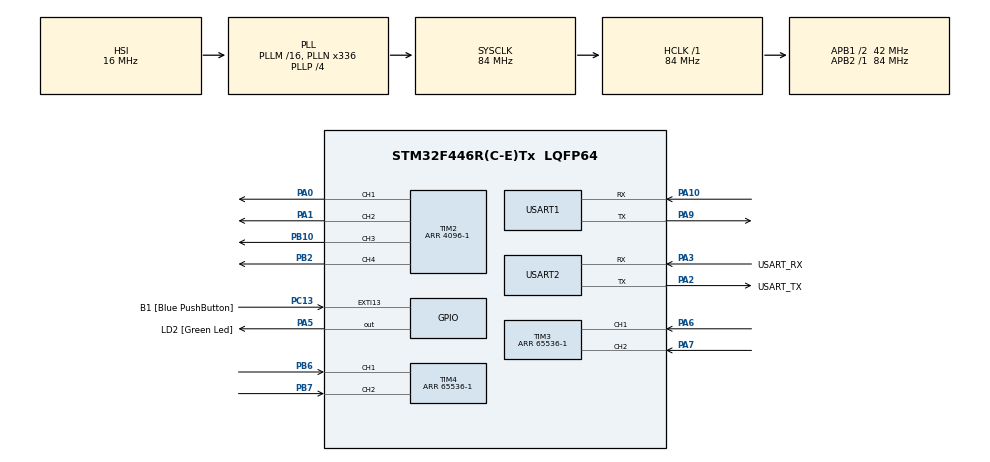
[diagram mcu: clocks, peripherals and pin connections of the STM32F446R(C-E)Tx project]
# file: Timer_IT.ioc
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Mcu.Family=STM32F4
Mcu.Name=STM32F446R(C-E)Tx
Mcu.Package=LQFP64
NVIC.PriorityGroup=NVIC_PRIORITYGROUP_0
NVIC.TIM8_TRG_COM_TIM14_IRQn=true\:0\:0\:false\:false\:true\:true\:true
NVIC.USART1_IRQn=true\:0\:0\:false\:false\:true\:true\:true
PA0-WKUP.Signal=S_TIM2_CH1_ETR
PA1.Signal=S_TIM2_CH2
PA10.Mode=Asynchronous
PA10.Signal=USART1_RX
PA13.GPIO_Label=TMS
PA13.Mode=Serial_Wire
PA13.Signal=SYS_JTMS-SWDIO
PA14.GPIO_Label=TCK
PA14.Mode=Serial_Wire
PA14.Signal=SYS_JTCK-SWCLK
PA2.GPIO_Label=USART_TX
PA2.Mode=Asynchronous
PA2.Signal=USART2_TX
PA3.GPIO_Label=USART_RX
PA3.Mode=Asynchronous
PA3.Signal=USART2_RX
PA5.GPIO_Label=LD2 [Green Led]
PA5.Signal=GPIO_Output
PA6.Signal=S_TIM3_CH1
PA7.Signal=S_TIM3_CH2
PA9.Mode=Asynchronous
PA9.Signal=USART1_TX
PB10.Signal=S_TIM2_CH3
PB2.Signal=S_TIM2_CH4
PB3.GPIO_Label=SWO
PB3.Signal=SYS_JTDO-SWO
PB6.Signal=S_TIM4_CH1
PB7.Signal=S_TIM4_CH2
PC13.GPIO_Label=B1 [Blue PushButton]
PC13.GPIO_ModeDefaultEXTI=GPIO_MODE_IT_FALLING
PC13.Signal=GPXTI13
PC14-OSC32_IN.Mode=LSE-External-Oscillator
PC14-OSC32_IN.Signal=RCC_OSC32_IN
PC15-OSC32_OUT.Mode=LSE-External-Oscillator
PC15-OSC32_OUT.Signal=RCC_OSC32_OUT
PH0-OSC_IN.Mode=HSE-External-Oscillator
PH0-OSC_IN.Signal=RCC_OSC_IN
PH1-OSC_OUT.Mode=HSE-External-Oscillator
PH1-OSC_OUT.Signal=RCC_OSC_OUT
ProjectManager.HeapSize=0x200
ProjectManager.StackSize=0x400
ProjectManager.TargetToolchain=SW4STM32
RCC.48MHZClocksFreq_Value=84000000
RCC.AHBFreq_Value=84000000
RCC.APB1CLKDivider=RCC_HCLK_DIV2
RCC.APB1Freq_Value=42000000
RCC.APB1TimFreq_Value=84000000
RCC.APB2Freq_Value=84000000
RCC.APB2TimFreq_Value=84000000
RCC.CortexFreq_Value=84000000
RCC.FLatency-AdvancedSettings=FLASH_LATENCY_2
RCC.HCLKFreq_Value=84000000
RCC.HSE_VALUE=8000000
RCC.HSI_VALUE=16000000
RCC.PLLN=336
RCC.PLLP=RCC_PLLP_DIV4
RCC.SYSCLKFreq_VALUE=84000000
RCC.SYSCLKSource=RCC_SYSCLKSOURCE_PLLCLK
RCC.USBFreq_Value=168000000
RCC.VCOOutputFreq_Value=336000000
SH.S_TIM2_CH1_ETR.0=TIM2_CH1,PWM Generation1 CH1
SH.S_TIM2_CH2.0=TIM2_CH2,PWM Generation2 CH2
SH.S_TIM2_CH3.0=TIM2_CH3,PWM Generation3 CH3
SH.S_TIM2_CH4.0=TIM2_CH4,PWM Generation4 CH4
SH.S_TIM3_CH1.0=TIM3_CH1,Encoder_Interface
SH.S_TIM3_CH2.0=TIM3_CH2,Encoder_Interface
SH.S_TIM4_CH1.0=TIM4_CH1,Encoder_Interface
SH.S_TIM4_CH2.0=TIM4_CH2,Encoder_Interface
TIM14.Period=10000-1
TIM14.Prescaler=8400
TIM2.Channel-PWM\ Generation1\ CH1=TIM_CHANNEL_1
TIM2.Channel-PWM\ Generation2\ CH2=TIM_CHANNEL_2
TIM2.Channel-PWM\ Generation3\ CH3=TIM_CHANNEL_3
TIM2.Channel-PWM\ Generation4\ CH4=TIM_CHANNEL_4
TIM2.Period=4096-1
TIM3.IC1Polarity=TIM_ICPOLARITY_FALLING
TIM3.Period=65536-1
TIM4.IC1Polarity=TIM_ICPOLARITY_FALLING
TIM4.Period=65536-1
USART1.VirtualMode=VM_ASYNC
USART2.VirtualMode=VM_ASYNC
VP_TIM14_VS_ClockSourceINT.Mode=Enable_Timer
board=NUCLEO-F446RE

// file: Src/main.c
/* USER CODE BEGIN Header */
/**
 ******************************************************************************
 * @file           : main.c
 * @brief          : Main program body
 ******************************************************************************
 * @attention
 *
 * <h2><center>&copy; Copyright (c) 2019 STMicroelectronics.
 * All rights reserved.</center></h2>
 *
 * This software component is licensed by ST under BSD 3-Clause license,
 * the "License"; You may not use this file except in compliance with the
 * License. You may obtain a copy of the License at:
 *                        opensource.org/licenses/BSD-3-Clause
 *
 ******************************************************************************
 */
/* USER CODE END Header */

#include "main.h"

/* USER CODE BEGIN Includes */
#include<stdio.h>
/* USER CODE END Includes */

TIM_HandleTypeDef htim2;
TIM_HandleTypeDef htim3;
TIM_HandleTypeDef htim4;
TIM_HandleTypeDef htim14;

UART_HandleTypeDef huart1;
UART_HandleTypeDef huart2;

/* USER CODE BEGIN PV */
int enc0 = 0;
static int enc1 = 0, C = 0, PWML = 0, PWMR = 0;
static int32_t blw = 0, frw = 0, flw = 0, brw = 0;
static uint8_t bu[1], set[128];
static int B1flag = 0;
uint32_t len;
/* USER CODE END PV */

void SystemClock_Config(void);
static void MX_GPIO_Init(void);
static void MX_TIM2_Init(void);
static void MX_TIM3_Init(void);
static void MX_TIM4_Init(void);
static void MX_TIM14_Init(void);
static void MX_USART2_UART_Init(void);
static void MX_USART1_UART_Init(void);
/* USER CODE BEGIN PFP */
void setPWM(TIM_HandleTypeDef *htim, uint32_t channel, uint32_t value);
/* USER CODE END PFP */

/* USER CODE BEGIN 0 */
void HAL_UART_RxCpltCallback(UART_HandleTypeDef *huart) {

	//set[C] = bu[0];
	//C++;
	//if (C == 11) {

		if (set[0] == '+') {
			flw = ((int) set[1] - '0') * 1000 + ((int) set[2] - '0') * 100
					+ ((int) set[3] - '0') * 10 + ((int) set[4] - '0');
			PWML = flw;
			blw=0;
		} else {
			blw = ((int) set[1] - '0') * 1000 + ((int) set[2] - '0') * 100
					+ ((int) set[3] - '0') * 10 + ((int) set[4] - '0');
			PWML = -blw;
			flw=0;
		}
		if (set[6] == '+') {
			frw = ((int) set[7] - '0') * 1000 + ((int) set[8] - '0') * 100
					+ ((int) set[9] - '0') * 10 + ((int) set[10] - '0');
			PWMR = frw;
			brw=0;
		} else {
			brw = ((int) set[7] - '0') * 1000 + ((int) set[8] - '0') * 100
					+ ((int) set[9] - '0') * 10 + ((int) set[10] - '0');
			PWMR = -brw;
			frw=0;
		}
		setPWM(&htim2, TIM_CHANNEL_1, frw);
		setPWM(&htim2, TIM_CHANNEL_2, brw);
		setPWM(&htim2, TIM_CHANNEL_4, flw);
		setPWM(&htim2, TIM_CHANNEL_3, blw);
		//HAL_UART_Transmit_IT(&huart2, set, len);
		//C = 0;
	//}
	HAL_UART_Receive_IT(&huart1, set, len);
}
void HAL_UART_TxCpltCallback(UART_HandleTypeDef *huart) {
	HAL_UART_Receive_IT(&huart1, set, len);
}
/* USER CODE END 0 */

int main(void)
{

  /* MCU Configuration--------------------------------------------------------*/

  /* Reset of all peripherals, Initializes the Flash interface and the Systick. */
  HAL_Init();

  /* USER CODE BEGIN Init */
/*	setPWM(&htim2, TIM_CHANNEL_1, frw);
	setPWM(&htim2, TIM_CHANNEL_2, brw);
	setPWM(&htim2, TIM_CHANNEL_3, flw);
	setPWM(&htim2, TIM_CHANNEL_4, blw);
*/
  /* USER CODE END Init */

  /* Configure the system clock */
  SystemClock_Config();

  /* Initialize all configured peripherals */
  MX_GPIO_Init();
  MX_TIM2_Init();
  MX_TIM3_Init();
  MX_TIM4_Init();
  MX_TIM14_Init();
  MX_USART2_UART_Init();
  MX_USART1_UART_Init();
  /* USER CODE BEGIN 2 */
	HAL_TIM_Base_Start_IT(&htim14);
	HAL_TIM_PWM_Start(&htim2, TIM_CHANNEL_1);
	HAL_TIM_Encoder_Start(&htim3, TIM_CHANNEL_ALL);
	HAL_TIM_Encoder_Start(&htim4, TIM_CHANNEL_ALL);
	len=snprintf((char*)set,128,"%5ld,%5ld",PWML,PWMR);
	HAL_UART_Receive_IT(&huart1, set, len);
  /* USER CODE END 2 */

  /* Infinite loop */
  /* USER CODE BEGIN WHILE */
	while (1) {
		//setPWM(&htim2, TIM_CHANNEL_4, 700);
    /* USER CODE END WHILE */

    /* USER CODE BEGIN 3 */
		enc0 = htim3.Instance->CNT;
		enc1 = htim4.Instance->CNT;
	}
  /* USER CODE END 3 */
}

void SystemClock_Config(void)
{
  RCC_OscInitTypeDef RCC_OscInitStruct = {0};
  RCC_ClkInitTypeDef RCC_ClkInitStruct = {0};

  /** Configure the main internal regulator output voltage
  */
  __HAL_RCC_PWR_CLK_ENABLE();
  __HAL_PWR_VOLTAGESCALING_CONFIG(PWR_REGULATOR_VOLTAGE_SCALE3);
  /** Initializes the CPU, AHB and APB busses clocks
  */
  RCC_OscInitStruct.OscillatorType = RCC_OSCILLATORTYPE_HSI;
  RCC_OscInitStruct.HSIState = RCC_HSI_ON;
  RCC_OscInitStruct.HSICalibrationValue = RCC_HSICALIBRATION_DEFAULT;
  RCC_OscInitStruct.PLL.PLLState = RCC_PLL_ON;
  RCC_OscInitStruct.PLL.PLLSource = RCC_PLLSOURCE_HSI;
  RCC_OscInitStruct.PLL.PLLM = 16;
  RCC_OscInitStruct.PLL.PLLN = 336;
  RCC_OscInitStruct.PLL.PLLP = RCC_PLLP_DIV4;
  RCC_OscInitStruct.PLL.PLLQ = 2;
  RCC_OscInitStruct.PLL.PLLR = 2;
  if (HAL_RCC_OscConfig(&RCC_OscInitStruct) != HAL_OK)
  {
    Error_Handler();
  }
  /** Initializes the CPU, AHB and APB busses clocks
  */
  RCC_ClkInitStruct.ClockType = RCC_CLOCKTYPE_HCLK|RCC_CLOCKTYPE_SYSCLK
                              |RCC_CLOCKTYPE_PCLK1|RCC_CLOCKTYPE_PCLK2;
  RCC_ClkInitStruct.SYSCLKSource = RCC_SYSCLKSOURCE_PLLCLK;
  RCC_ClkInitStruct.AHBCLKDivider = RCC_SYSCLK_DIV1;
  RCC_ClkInitStruct.APB1CLKDivider = RCC_HCLK_DIV2;
  RCC_ClkInitStruct.APB2CLKDivider = RCC_HCLK_DIV1;

  if (HAL_RCC_ClockConfig(&RCC_ClkInitStruct, FLASH_LATENCY_2) != HAL_OK)
  {
    Error_Handler();
  }
}

static void MX_TIM2_Init(void)
{

  TIM_MasterConfigTypeDef sMasterConfig = {0};
  TIM_OC_InitTypeDef sConfigOC = {0};

  htim2.Instance = TIM2;
  htim2.Init.Prescaler = 0;
  htim2.Init.CounterMode = TIM_COUNTERMODE_UP;
  htim2.Init.Period = 4096-1;
  htim2.Init.ClockDivision = TIM_CLOCKDIVISION_DIV1;
  htim2.Init.AutoReloadPreload = TIM_AUTORELOAD_PRELOAD_DISABLE;
  if (HAL_TIM_PWM_Init(&htim2) != HAL_OK)
  {
    Error_Handler();
  }
  sMasterConfig.MasterOutputTrigger = TIM_TRGO_RESET;
  sMasterConfig.MasterSlaveMode = TIM_MASTERSLAVEMODE_DISABLE;
  if (HAL_TIMEx_MasterConfigSynchronization(&htim2, &sMasterConfig) != HAL_OK)
  {
    Error_Handler();
  }
  sConfigOC.OCMode = TIM_OCMODE_PWM1;
  sConfigOC.Pulse = 0;
  sConfigOC.OCPolarity = TIM_OCPOLARITY_HIGH;
  sConfigOC.OCFastMode = TIM_OCFAST_DISABLE;
  if (HAL_TIM_PWM_ConfigChannel(&htim2, &sConfigOC, TIM_CHANNEL_1) != HAL_OK)
  {
    Error_Handler();
  }
  if (HAL_TIM_PWM_ConfigChannel(&htim2, &sConfigOC, TIM_CHANNEL_2) != HAL_OK)
  {
    Error_Handler();
  }
  if (HAL_TIM_PWM_ConfigChannel(&htim2, &sConfigOC, TIM_CHANNEL_3) != HAL_OK)
  {
    Error_Handler();
  }
  if (HAL_TIM_PWM_ConfigChannel(&htim2, &sConfigOC, TIM_CHANNEL_4) != HAL_OK)
  {
    Error_Handler();
  }
  HAL_TIM_MspPostInit(&htim2);

}

static void MX_TIM3_Init(void)
{

  TIM_Encoder_InitTypeDef sConfig = {0};
  TIM_MasterConfigTypeDef sMasterConfig = {0};

  htim3.Instance = TIM3;
  htim3.Init.Prescaler = 0;
  htim3.Init.CounterMode = TIM_COUNTERMODE_UP;
  htim3.Init.Period = 65536-1;
  htim3.Init.ClockDivision = TIM_CLOCKDIVISION_DIV1;
  htim3.Init.AutoReloadPreload = TIM_AUTORELOAD_PRELOAD_DISABLE;
  sConfig.EncoderMode = TIM_ENCODERMODE_TI1;
  sConfig.IC1Polarity = TIM_ICPOLARITY_RISING;
  sConfig.IC1Selection = TIM_ICSELECTION_DIRECTTI;
  sConfig.IC1Prescaler = TIM_ICPSC_DIV1;
  sConfig.IC1Filter = 8;
  sConfig.IC2Polarity = TIM_ICPOLARITY_RISING;
  sConfig.IC2Selection = TIM_ICSELECTION_DIRECTTI;
  sConfig.IC2Prescaler = TIM_ICPSC_DIV1;
  sConfig.IC2Filter = 8;
  if (HAL_TIM_Encoder_Init(&htim3, &sConfig) != HAL_OK)
  {
    Error_Handler();
  }
  sMasterConfig.MasterOutputTrigger = TIM_TRGO_RESET;
  sMasterConfig.MasterSlaveMode = TIM_MASTERSLAVEMODE_DISABLE;
  if (HAL_TIMEx_MasterConfigSynchronization(&htim3, &sMasterConfig) != HAL_OK)
  {
    Error_Handler();
  }

}

static void MX_TIM4_Init(void)
{

  TIM_Encoder_InitTypeDef sConfig = {0};
  TIM_MasterConfigTypeDef sMasterConfig = {0};

  htim4.Instance = TIM4;
  htim4.Init.Prescaler = 0;
  htim4.Init.CounterMode = TIM_COUNTERMODE_UP;
  htim4.Init.Period = 65536-1;
  htim4.Init.ClockDivision = TIM_CLOCKDIVISION_DIV1;
  htim4.Init.AutoReloadPreload = TIM_AUTORELOAD_PRELOAD_DISABLE;
  sConfig.EncoderMode = TIM_ENCODERMODE_TI1;
  sConfig.IC1Polarity = TIM_ICPOLARITY_RISING;
  sConfig.IC1Selection = TIM_ICSELECTION_DIRECTTI;
  sConfig.IC1Prescaler = TIM_ICPSC_DIV1;
  sConfig.IC1Filter = 8;
  sConfig.IC2Polarity = TIM_ICPOLARITY_RISING;
  sConfig.IC2Selection = TIM_ICSELECTION_DIRECTTI;
  sConfig.IC2Prescaler = TIM_ICPSC_DIV1;
  sConfig.IC2Filter = 8;
  if (HAL_TIM_Encoder_Init(&htim4, &sConfig) != HAL_OK)
  {
    Error_Handler();
  }
  sMasterConfig.MasterOutputTrigger = TIM_TRGO_RESET;
  sMasterConfig.MasterSlaveMode = TIM_MASTERSLAVEMODE_DISABLE;
  if (HAL_TIMEx_MasterConfigSynchronization(&htim4, &sMasterConfig) != HAL_OK)
  {
    Error_Handler();
  }

}

static void MX_TIM14_Init(void)
{

  htim14.Instance = TIM14;
  htim14.Init.Prescaler = 8400;
  htim14.Init.CounterMode = TIM_COUNTERMODE_UP;
  htim14.Init.Period = 10000-1;
  htim14.Init.ClockDivision = TIM_CLOCKDIVISION_DIV1;
  htim14.Init.AutoReloadPreload = TIM_AUTORELOAD_PRELOAD_DISABLE;
  if (HAL_TIM_Base_Init(&htim14) != HAL_OK)
  {
    Error_Handler();
  }

}

static void MX_USART1_UART_Init(void)
{

  huart1.Instance = USART1;
  huart1.Init.BaudRate = 115200;
  huart1.Init.WordLength = UART_WORDLENGTH_8B;
  huart1.Init.StopBits = UART_STOPBITS_1;
  huart1.Init.Parity = UART_PARITY_NONE;
  huart1.Init.Mode = UART_MODE_TX_RX;
  huart1.Init.HwFlowCtl = UART_HWCONTROL_NONE;
  huart1.Init.OverSampling = UART_OVERSAMPLING_16;
  if (HAL_UART_Init(&huart1) != HAL_OK)
  {
    Error_Handler();
  }

}

static void MX_USART2_UART_Init(void)
{

  huart2.Instance = USART2;
  huart2.Init.BaudRate = 115200;
  huart2.Init.WordLength = UART_WORDLENGTH_8B;
  huart2.Init.StopBits = UART_STOPBITS_1;
  huart2.Init.Parity = UART_PARITY_NONE;
  huart2.Init.Mode = UART_MODE_TX_RX;
  huart2.Init.HwFlowCtl = UART_HWCONTROL_NONE;
  huart2.Init.OverSampling = UART_OVERSAMPLING_16;
  if (HAL_UART_Init(&huart2) != HAL_OK)
  {
    Error_Handler();
  }

}

static void MX_GPIO_Init(void)
{
  GPIO_InitTypeDef GPIO_InitStruct = {0};

  /* GPIO Ports Clock Enable */
  __HAL_RCC_GPIOC_CLK_ENABLE();
  __HAL_RCC_GPIOH_CLK_ENABLE();
  __HAL_RCC_GPIOA_CLK_ENABLE();
  __HAL_RCC_GPIOB_CLK_ENABLE();

  /*Configure GPIO pin Output Level */
  HAL_GPIO_WritePin(LD2_GPIO_Port, LD2_Pin, GPIO_PIN_RESET);

  /*Configure GPIO pin : B1_Pin */
  GPIO_InitStruct.Pin = B1_Pin;
  GPIO_InitStruct.Mode = GPIO_MODE_IT_FALLING;
  GPIO_InitStruct.Pull = GPIO_NOPULL;
  HAL_GPIO_Init(B1_GPIO_Port, &GPIO_InitStruct);

  /*Configure GPIO pin : LD2_Pin */
  GPIO_InitStruct.Pin = LD2_Pin;
  GPIO_InitStruct.Mode = GPIO_MODE_OUTPUT_PP;
  GPIO_InitStruct.Pull = GPIO_NOPULL;
  GPIO_InitStruct.Speed = GPIO_SPEED_FREQ_LOW;
  HAL_GPIO_Init(LD2_GPIO_Port, &GPIO_InitStruct);

  /* EXTI interrupt init*/
  HAL_NVIC_SetPriority(EXTI15_10_IRQn, 0, 0);
  HAL_NVIC_EnableIRQ(EXTI15_10_IRQn);

}

/* USER CODE BEGIN 4 */
void HAL_TIM_PeriodElapsedCallback(TIM_HandleTypeDef *htim) {
	if (htim == &htim14) {
		static uint8_t buf[128] = { 0 };
		int32_t len = snprintf((char*) buf, 128,
				"ENC0: %5ld, ENC1: %5ld flw: %4ld, blw: %4ld, frw: %4ld, brw: %4ld\r\n", enc0, enc1,
				flw, blw,frw,brw);
		if (len != -1) {
	//		HAL_UART_Transmit(&huart2, buf, len, HAL_MAX_DELAY);
		}
	}
}
void setPWM(TIM_HandleTypeDef *htim, uint32_t channel, uint32_t value) {
	if (value > 3750)
		value = 3750;
	TIM_OC_InitTypeDef config;
	config.OCMode = TIM_OCMODE_PWM1;
	config.OCPolarity = TIM_OCPOLARITY_HIGH;
	config.OCFastMode = TIM_OCFAST_DISABLE;
	config.Pulse = value;
	HAL_TIM_PWM_ConfigChannel(htim, &config, channel);
	HAL_TIM_PWM_Start(htim, channel);
}
void HAL_GPIO_EXTI_Callback(uint16_t GPIO_Pin) {
	if (GPIO_Pin == B1_Pin) {
		if (B1flag == 0) {
			frw = 2000;
			blw = 2000;
			B1flag = 1;
		} else {
			blw = 0;
			frw = 0;
			flw = 0;
			brw = 0;
			B1flag = 0;
		}

	}
	setPWM(&htim2, TIM_CHANNEL_1, frw);
	setPWM(&htim2, TIM_CHANNEL_2, brw);
	setPWM(&htim2, TIM_CHANNEL_4, flw);
	setPWM(&htim2, TIM_CHANNEL_3, blw);

}
/* USER CODE END 4 */

void Error_Handler(void)
{
}

/************************ (C) COPYRIGHT STMicroelectronics *****END OF FILE****/
